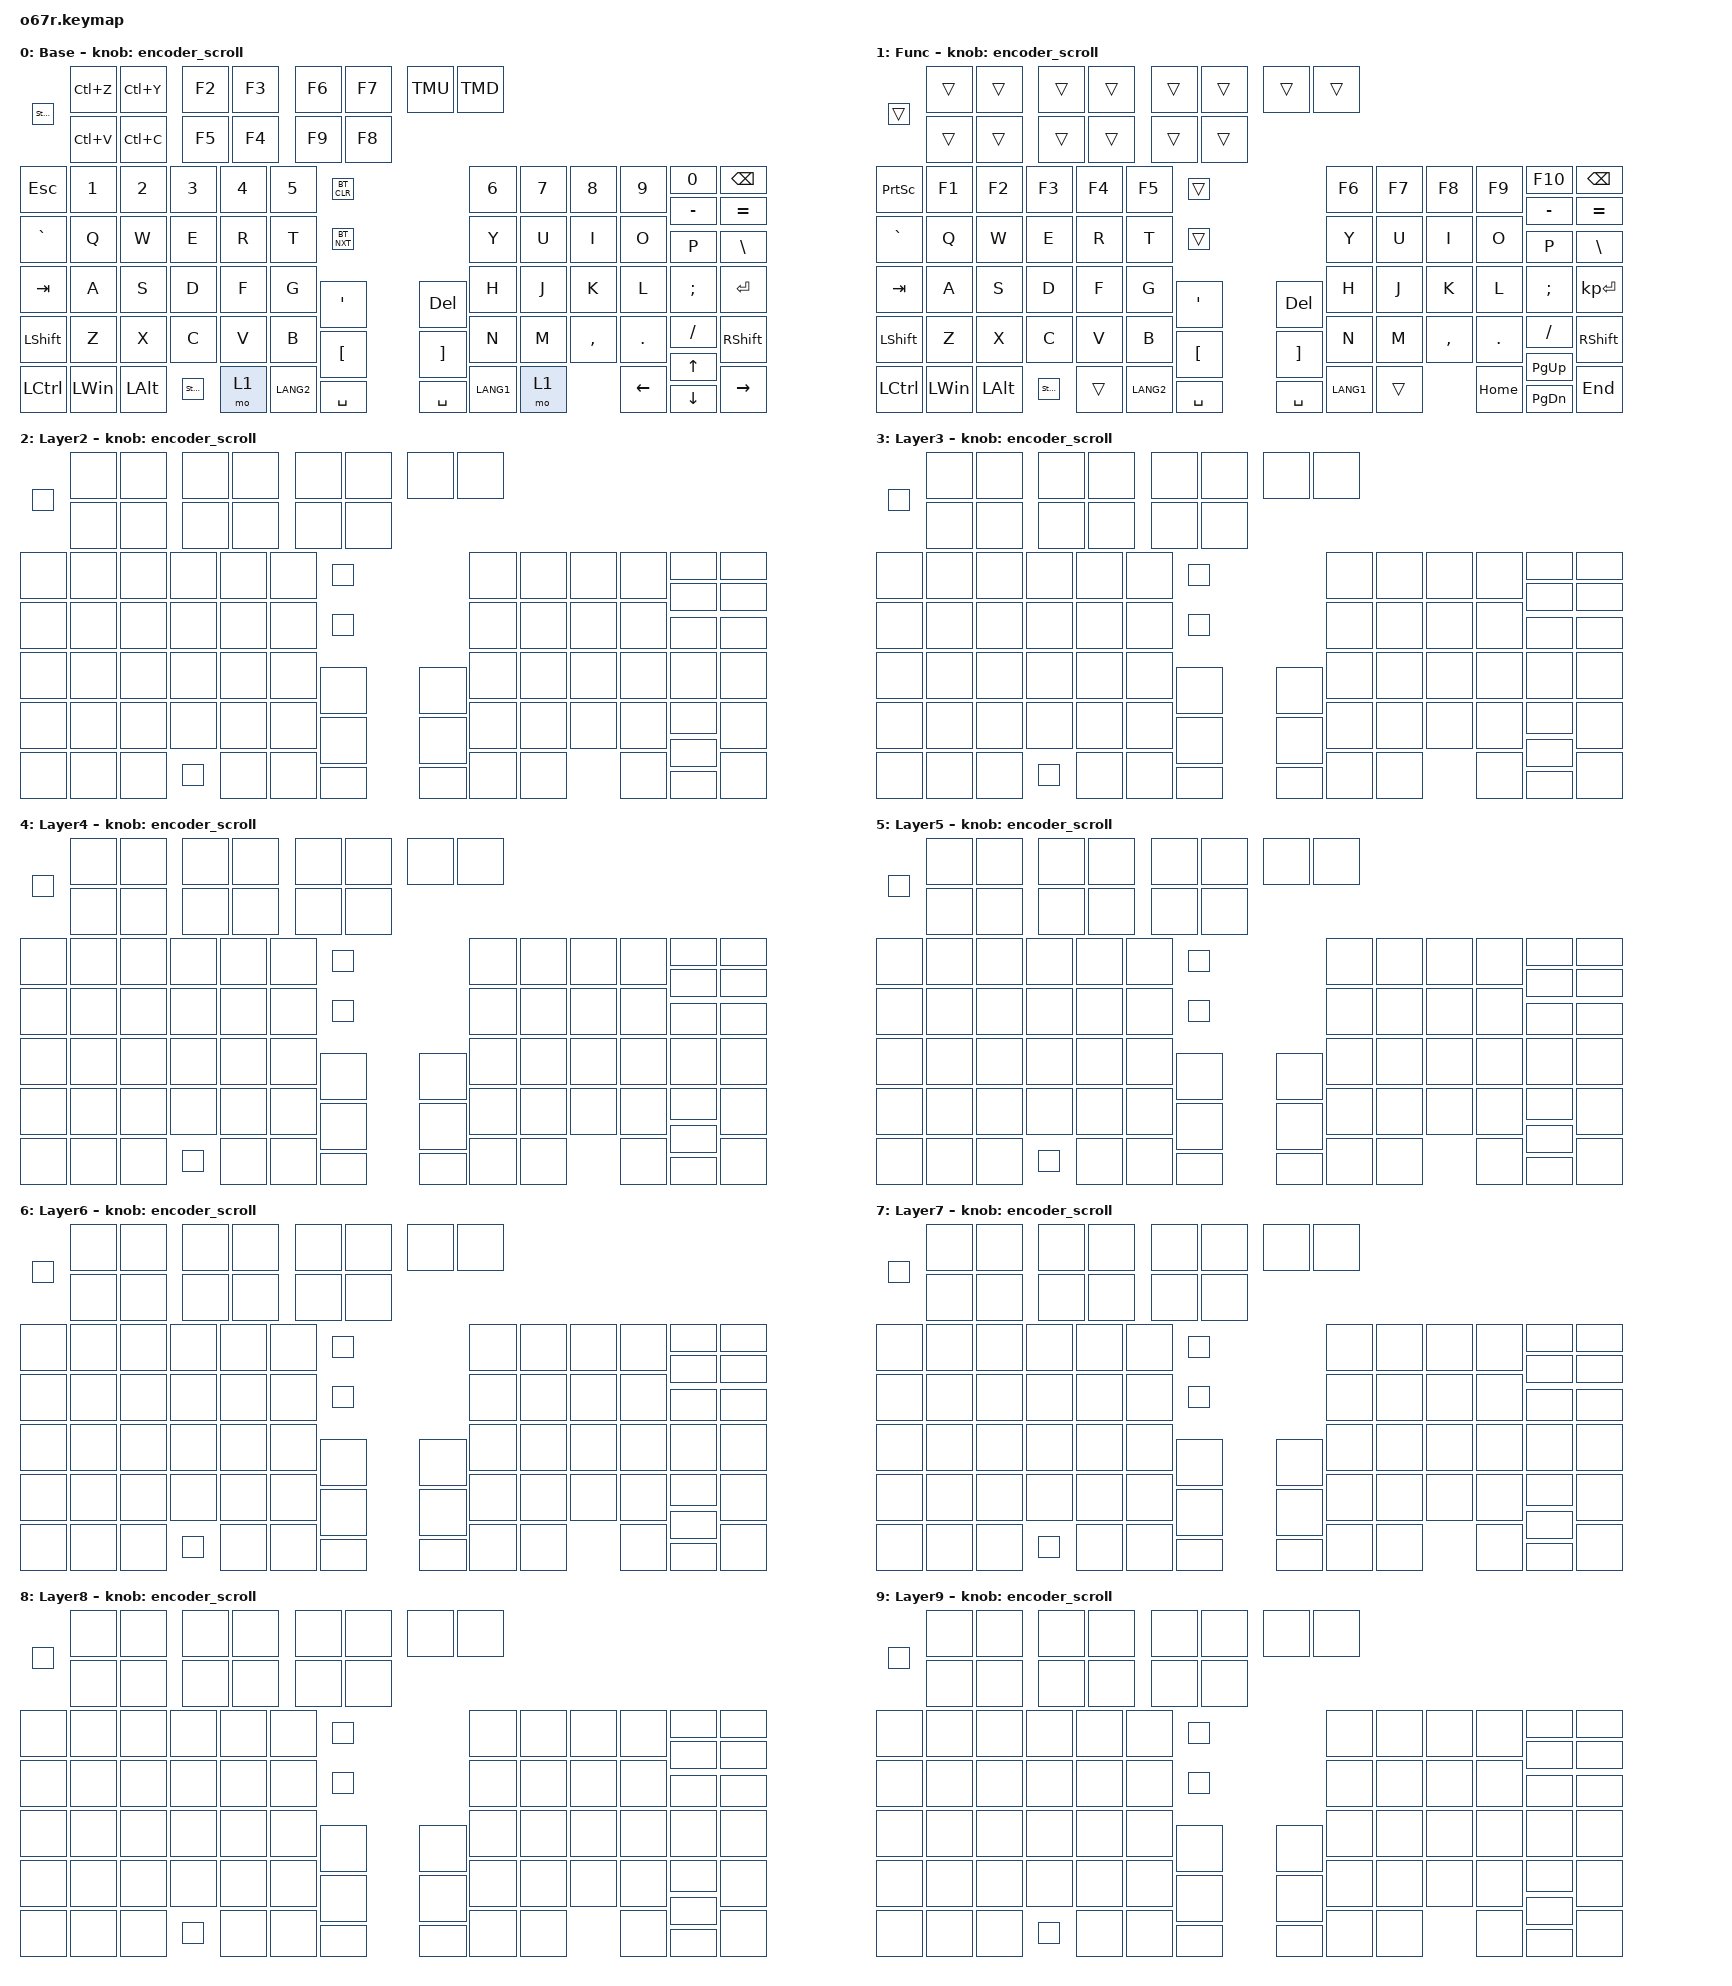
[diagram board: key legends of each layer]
// This file was generated from a template. Edit it to match your keyboard.
// See https://zmk.dev/docs/development/hardware-integration/new-shield for more instructions.

//#define ZMK_POINTING_DEFAULT_SCRL_VAL 120
#define ZMK_POINTING_DEFAULT_SCRL_VAL 20
#include <behaviors.dtsi>
#include <dt-bindings/zmk/keys.h>
//#include <dt-bindings/zmk/rgb.h>
#include <dt-bindings/zmk/bt.h>
#include <input/processors.dtsi>
#include <behaviors/input_processor_absolute_to_relative.dtsi>
#include <mouse-gesture.dtsi>
#include <dt-bindings/zmk/pointing.h>

//#include <dt-bindings/zmk/studio.h>
//&studio_unlockに昔は必要だった？

/ {
    behaviors {
        encoder_scroll: encoder_scroll {
            compatible = "zmk,behavior-sensor-rotate";
            #sensor-binding-cells = <0>;
            tap-ms = <80>;
            //bindings = <&msc MOVE_Y(120)>, <&msc MOVE_Y(-120)>;
            bindings = <&msc SCRL_UP>, <&msc SCRL_DOWN>;
        };

        TMU: task_move_u: task_move_u {
            compatible = "zmk,behavior-o67r-task-move";
            #binding-cells = <0>;
            release-after-ms = <1200>;
        };

        TMD: task_move_d: task_move_d {
            compatible = "zmk,behavior-o67r-task-move";
            #binding-cells = <0>;
            release-after-ms = <1200>;
            reverse;
        };
    };

    keymap {
        compatible = "zmk,keymap";

        default_layer {
            display-name = "Base";
            bindings = <
                &studio_unlock       &kp LC(Z)  &kp LC(Y)  &kp LC(C)  &kp LC(V)        &kp F2  &kp F3  &kp F4  &kp F5          &kp F6  &kp F7  &kp F8  &kp F9     &TMU  &TMD
                &kp ESC    &kp N1    &kp N2    &kp N3  &kp N4  &kp N5  &bt BT_CLR    &kp N6     &kp N7     &kp N8   &kp N9     &kp N0     &kp EQUAL  &kp BSPC
                &kp GRAVE  &kp Q     &kp W     &kp E   &kp R   &kp T   &bt BT_NXT    &kp Y      &kp U      &kp I    &kp O      &kp MINUS  &kp P      &kp BSLH
                &kp TAB    &kp A     &kp S     &kp D   &kp F   &kp G   &kp SQT       &kp DEL    &kp H      &kp J    &kp K      &kp L      &kp SEMI   &kp ENTER
                &kp LSHFT  &kp Z     &kp X     &kp C   &kp V   &kp B   &kp LBKT      &kp RBKT   &kp N      &kp M    &kp COMMA  &kp DOT    &kp SLASH  &kp RSHFT
                &kp LCTRL  &kp LWIN  &kp LALT  &studio_unlock  &mo 1   &kp LANG2     &kp SPACE  &kp SPACE  &kp LANG1  &mo 1    &kp LEFT   &kp UP     &kp DOWN   &kp RIGHT
            >;
            sensor-bindings = <&encoder_scroll>;
        };

        layer1 {
            display-name = "Func";
            bindings = <
                &trans &trans &trans &trans &trans &trans &trans &trans &trans &trans &trans &trans &trans &trans &trans
                &kp PSCRN  &kp F1    &kp F2    &kp F3  &kp F4  &kp F5  &trans     &kp F6     &kp F7     &kp F8   &kp F9     &kp F10    &kp EQUAL  &kp BSPC
                &kp GRAVE  &kp Q     &kp W     &kp E   &kp R   &kp T   &trans     &kp Y      &kp U      &kp I    &kp O      &kp MINUS  &kp P      &kp BSLH
                &kp TAB    &kp A     &kp S     &kp D   &kp F   &kp G   &kp SQT    &kp DEL    &kp H      &kp J    &kp K      &kp L      &kp SEMI   &kp KP_ENTER
                &kp LSHFT  &kp Z     &kp X     &kp C   &kp V   &kp B   &kp LBKT   &kp RBKT   &kp N      &kp M    &kp COMMA  &kp DOT    &kp SLASH  &kp RSHFT
                &kp LCTRL  &kp LWIN  &kp LALT  &studio_unlock &trans  &kp LANG2  &kp SPACE  &kp SPACE  &kp LANG1  &trans   &kp HOME   &kp PG_UP  &kp PG_DN  &kp END
            >;
            sensor-bindings = <&encoder_scroll>;
        };

        layer2 {
            display-name = "Layer2";
            bindings = <
                &none &none &none &none &none &none &none &none &none &none &none &none &none &none &none
                &none &none &none &none &none &none &none &none &none &none &none &none &none &none
                &none &none &none &none &none &none &none &none &none &none &none &none &none &none
                &none &none &none &none &none &none &none &none &none &none &none &none &none &none
                &none &none &none &none &none &none &none &none &none &none &none &none &none &none
                &none &none &none &none &none &none &none &none &none &none &none &none &none &none
            >;
            sensor-bindings = <&encoder_scroll>;
        };

        layer3 {
            display-name = "Layer3";
            bindings = <
                &none &none &none &none &none &none &none &none &none &none &none &none &none &none &none
                &none &none &none &none &none &none &none &none &none &none &none &none &none &none
                &none &none &none &none &none &none &none &none &none &none &none &none &none &none
                &none &none &none &none &none &none &none &none &none &none &none &none &none &none
                &none &none &none &none &none &none &none &none &none &none &none &none &none &none
                &none &none &none &none &none &none &none &none &none &none &none &none &none &none
            >;
            sensor-bindings = <&encoder_scroll>;
        };

        layer4 {
            display-name = "Layer4";
            bindings = <
                &none &none &none &none &none &none &none &none &none &none &none &none &none &none &none
                &none &none &none &none &none &none &none &none &none &none &none &none &none &none
                &none &none &none &none &none &none &none &none &none &none &none &none &none &none
                &none &none &none &none &none &none &none &none &none &none &none &none &none &none
                &none &none &none &none &none &none &none &none &none &none &none &none &none &none
                &none &none &none &none &none &none &none &none &none &none &none &none &none &none
            >;
            sensor-bindings = <&encoder_scroll>;
        };

        layer5 {
            display-name = "Layer5";
            bindings = <
                &none &none &none &none &none &none &none &none &none &none &none &none &none &none &none
                &none &none &none &none &none &none &none &none &none &none &none &none &none &none
                &none &none &none &none &none &none &none &none &none &none &none &none &none &none
                &none &none &none &none &none &none &none &none &none &none &none &none &none &none
                &none &none &none &none &none &none &none &none &none &none &none &none &none &none
                &none &none &none &none &none &none &none &none &none &none &none &none &none &none
            >;
            sensor-bindings = <&encoder_scroll>;
        };

        layer6 {
            display-name = "Layer6";
            bindings = <
                &none &none &none &none &none &none &none &none &none &none &none &none &none &none &none
                &none &none &none &none &none &none &none &none &none &none &none &none &none &none
                &none &none &none &none &none &none &none &none &none &none &none &none &none &none
                &none &none &none &none &none &none &none &none &none &none &none &none &none &none
                &none &none &none &none &none &none &none &none &none &none &none &none &none &none
                &none &none &none &none &none &none &none &none &none &none &none &none &none &none
            >;
            sensor-bindings = <&encoder_scroll>;
        };

        layer7 {
            display-name = "Layer7";
            bindings = <
                &none &none &none &none &none &none &none &none &none &none &none &none &none &none &none
                &none &none &none &none &none &none &none &none &none &none &none &none &none &none
                &none &none &none &none &none &none &none &none &none &none &none &none &none &none
                &none &none &none &none &none &none &none &none &none &none &none &none &none &none
                &none &none &none &none &none &none &none &none &none &none &none &none &none &none
                &none &none &none &none &none &none &none &none &none &none &none &none &none &none
            >;
            sensor-bindings = <&encoder_scroll>;
        };

        layer8 {
            display-name = "Layer8";
            bindings = <
                &none &none &none &none &none &none &none &none &none &none &none &none &none &none &none
                &none &none &none &none &none &none &none &none &none &none &none &none &none &none
                &none &none &none &none &none &none &none &none &none &none &none &none &none &none
                &none &none &none &none &none &none &none &none &none &none &none &none &none &none
                &none &none &none &none &none &none &none &none &none &none &none &none &none &none
                &none &none &none &none &none &none &none &none &none &none &none &none &none &none
            >;
            sensor-bindings = <&encoder_scroll>;
        };

        layer9 {
            display-name = "Layer9";
            bindings = <
                &none &none &none &none &none &none &none &none &none &none &none &none &none &none &none
                &none &none &none &none &none &none &none &none &none &none &none &none &none &none
                &none &none &none &none &none &none &none &none &none &none &none &none &none &none
                &none &none &none &none &none &none &none &none &none &none &none &none &none &none
                &none &none &none &none &none &none &none &none &none &none &none &none &none &none
                &none &none &none &none &none &none &none &none &none &none &none &none &none &none
            >;
            sensor-bindings = <&encoder_scroll>;
        };
    };
};

&msc {
    trigger-period-ms = <1>;
    time-to-max-speed-ms = <0>;
    acceleration-exponent = <0>;
};

&zip_mouse_gesture {
    always-active;
    suppress-movement;
    enable-eager-mode;
    stroke-size = <80>;
    idle-timeout-ms = <150>;

    swipe_up {
        pattern = <GESTURE_UP>;
        bindings = <&kp A>;
    };

    swipe_down {
        pattern = <GESTURE_DOWN>;
        bindings = <&kp S>;
    };
};

#ifdef CONFIG_INPUT_CST816S
&touch_listener {
    input-processors = <
        &zip_absolute_to_relative
        &zip_mouse_gesture
    >;
};
#endif
